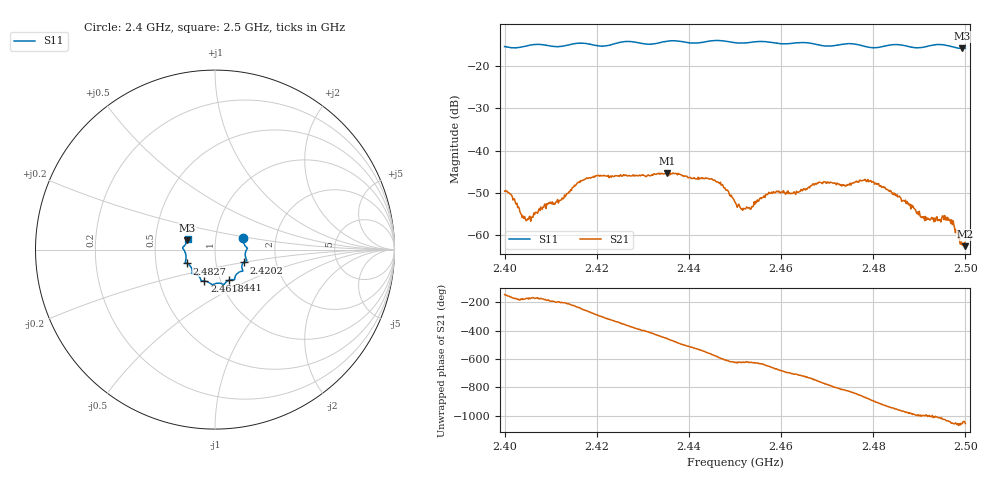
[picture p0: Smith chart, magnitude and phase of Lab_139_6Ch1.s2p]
# Hz S RI R
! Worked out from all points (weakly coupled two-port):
!   601 points, 2.4 GHz to 2.5 GHz, reference 50 ohm
!   highest |S21| = -45.33 dB at 2.4353 GHz (marker M1); lowest = -62.7 dB at 2.5 GHz (marker M2)
!   lowest |S11| = -15.8 dB at 2.4993 GHz (marker M3), VSWR 1.39, Z = 36.5 + j3.82 ohm
!   |S11| at or under -10 dB: start of sweep to end of sweep
!   S12 and S22 are empty: the file has one direction only
!   S11 on the Smith chart (normalised r, x): 2.4 GHz: 1.36, +0.18; 2.4202 GHz: 1.36, -0.20; 2.441 GHz: 1.10, -0.39; 2.4618 GHz: 0.84, -0.30; 2.4827 GHz: 0.72, -0.11; 2.5 GHz: 0.73, +0.09
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2.4e9  0.1587 0.0627  -0.00267 -0.00194  0 0  0 0
2.404167e9  0.1696 0.0188  -0.00157 -8.85e-05  0 0  0 0
2.405167e9  0.1751 0.0135  -0.00152 -0.00011  0 0  0 0
2.412167e9  0.1684 -0.0298  -0.0024 0.000931  0 0  0 0
2.416667e9  0.1774 -0.0607  -0.00187 0.00396  0 0  0 0
2.420167e9  0.1592 -0.0716  0.00166 0.00476  0 0  0 0
2.433333e9  0.1118 -0.1507  0.00154 -0.00509  0 0  0 0
2.435333e9  0.1093 -0.1648  -0.000641 -0.00538  0 0  0 0
2.441e9  0.0789 -0.17  -0.0045 -0.00148  0 0  0 0
2.446333e9  0.049 -0.1953  -0.00292 0.00302  0 0  0 0
2.45e9  0.0287 -0.1874  -0.000329 0.00242  0 0  0 0
2.453333e9  -0.00299 -0.1912  -0.000232 0.002  0 0  0 0
2.457167e9  -0.0209 -0.1925  0.00104 0.00287  0 0  0 0
2.461833e9  -0.059 -0.1755  0.00288 0.00122  0 0  0 0
2.466667e9  -0.0788 -0.1682  0.00364 -0.00127  0 0  0 0
2.478333e9  -0.128 -0.1126  -0.00404 -0.00195  0 0  0 0
2.482667e9  -0.1557 -0.077  -0.00313 0.00169  0 0  0 0
2.483333e9  -0.1601 -0.075  -0.00268 0.00205  0 0  0 0
2.490667e9  -0.166 -0.0158  0.000229 0.00163  0 0  0 0
2.4965e9  -0.172 0.0202  0.00119 0.000963  0 0  0 0
2.499333e9  -0.1541 0.051  0.000688 0.000305  0 0  0 0
2.5e9  -0.1521 0.0602  0.000671 0.000301  0 0  0 0
